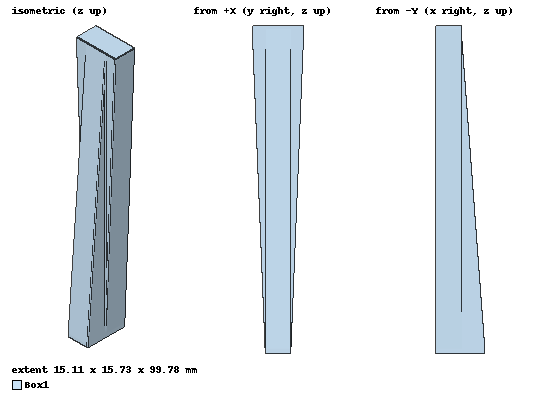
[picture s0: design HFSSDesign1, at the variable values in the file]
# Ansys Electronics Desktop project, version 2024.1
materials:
  vacuum: permittivity=1
  copper: permeability=0.999991 conductivity=58000000

design HFSSDesign1 (HFSS, HFSS Modal Network, model units mm)
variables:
  a1 = 15.11349mm  # optimise 7.865mm..23.595mm
  b1 = 7.865mm
  l1 = 99.036628mm  # optimise 35mm..105mm
  epl1 = 1.4457392mm  # optimise 0.5mm..1.5mm
  h1 = b2
  a2 = 15.73mm
  b2 = 7.865mm
  epl2 = 0.73900196mm  # optimise 0.5mm..1.5mm
  tick = -0.037mm
  thick = 0.037mm
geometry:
  Box1 [vacuum] = box(corner=(0mm, -b1/2, 0mm), size=(a1, b1, epl1))
  Polyline1 = polyline((0mm, -b1/2, epl1) (0mm, -b1/2, l1))
  Polyline2 = polyline((0mm, -b1/2, epl1) (a1, -b1/2, epl1))
  Polyline3 = polyline((0mm, -b1/2, l1) (h1, -b1/2, l1))
  Polyline4 = polyline((a1, -b1/2, epl1) (h1, -b1/2, l1))
  Polyline1.unite(Polyline2, Polyline3, Polyline4)
  Polyline1.cover_lines()
  Polyline1.thicken(-b1)
  Box2 = box(corner=(0mm, -a2/2, l1), size=(b2, a2, epl2))
  Polyline5 = polyline((0mm, -a2/2, l1) (0mm, -b1/2, epl1))
  Polyline6 = polyline((0mm, -a2/2, l1) (0mm, -b1/2, l1))
  Polyline7 = polyline((0mm, -b1/2, l1) (0mm, -b1/2, epl1))
  Polyline6.unite(Polyline5, Polyline7)
  Polyline6.cover_lines()
  Polyline6.thicken(-b2)
  Polyline8 = polyline((0mm, a2/2, l1) (0mm, b1/2, epl1))
  Polyline9 = polyline((0mm, a2/2, l1) (0mm, b1/2, l1))
  Polyline10 = polyline((0mm, b1/2, l1) (0mm, b1/2, epl1))
  Polyline8.unite(Polyline9, Polyline10)
  Polyline8.cover_lines()
  Polyline8.thicken(b2)
  Box1.unite(Polyline1, Box2, Polyline6, Polyline8)
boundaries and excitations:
  1: Wave Port Faces=Box1.face(-z) WavePortType=Modal NumModes=4 Modes{Mode1{CharImp=Zpi} Mode2{CharImp=Zpi} Mode3{CharImp=Zpi} Mode4{CharImp=Zpi}}
  2: Wave Port Faces=Box1.face(at (3.9325, 0, 99.7756)) WavePortType=Modal NumModes=4 Modes{Mode1{CharImp=Zpi} Mode2{CharImp=Zpi} Mode3{CharImp=Zpi} Mode4{CharImp=Zpi}}
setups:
  Setup1: HfssDriven Frequency=20.2GHz MaxDeltaS=0.02 MaximumPasses=10 MinimumPasses=1 MinimumConvergedPasses=1 PercentRefinement=30 BasisOrder=1 PortAccuracy=2 DrivenSolverType="Direct Solver"
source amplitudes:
  1:1, 1:2, 1:3, 2:1..2:4: 0W 0deg
  1:4: 1W 0deg
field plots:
  Mag_E1, Mag_E2: E Field in Box1 on Setup1 : LastAdaptive at Freq=20.2GHz Phase=0deg
